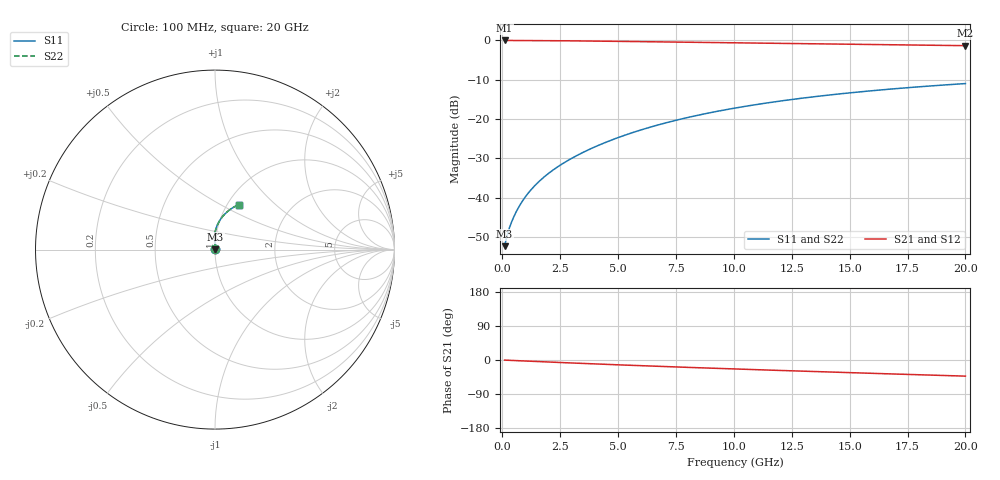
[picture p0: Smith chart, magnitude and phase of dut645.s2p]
! Touchstone file exported from HFSS 2024.1.0
!  File:  C:/UserFiles/LocalFiles/RDL_TSV_Batchsim/temp_RDL_bottom_645_1779785034.aedt
!  Generated:  04:46:24 PM May 26, 2026
!  Design:  RDL_bottom
!  Project:  temp_RDL_bottom_645_1779785034
!  Setup:  Setup1
!  Solution:  Sweep
! Variables:
!  dtsv = 10.80580581um
!  hbump = 3um
!  htsv = 90.67um
!  ldown = 668.22um
!  lrdl = 100um
!  p = 40
!  p1 = 48.89um
!  rhole = 1um
!  t = 450um
!  tdown = 4.49um
!  trdl = 3.915915916um
!  wdown = 28.99um
!  wrdl = 20um
# GHz S MA R 50.000000
! Terminal data exported
! Port[1] = RDL1_T1
! Port[2] = RDL1_T2
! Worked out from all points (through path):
!   200 points, 100 MHz to 20 GHz, reference 50 ohm
!   highest |S21| = -0.02 dB at 100 MHz (marker M1); lowest = -1.3 dB at 20 GHz (marker M2)
!   group delay of S21, straight-line fit = 5.82 ps
!   lowest |S11| = -52.3 dB at 100 MHz (marker M3), VSWR 1.00, Z = 50.2 + j0.127 ohm
!   |S11| at or under -10 dB: start of sweep to end of sweep
!   |S22| runs from -52.3 to -11.0 dB; largest |S21 - S12| = 3e-14
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0.1  0.002428 31.3  0.9979 -0.3  0.9979 -0.3  0.002428 31.3
! Gamma 0 0 0 0
! Port Impedance 50 0 50 0
0.2  0.003259 45.8  0.9977 -0.6  0.9977 -0.6  0.003259 45.8
0.3  0.004086 54.0  0.9974 -0.8  0.9974 -0.8  0.004086 54.0
0.5  0.005758 64.5  0.9971 -1.4  0.9971 -1.4  0.005758 64.5
0.6  0.006628 68.2  0.9969 -1.6  0.9969 -1.6  0.006628 68.2
0.8  0.008435 73.6  0.9965 -2.2  0.9965 -2.2  0.008435 73.6
1  0.01031 77.3  0.996 -2.7  0.996 -2.7  0.01031 77.4
1.2  0.01224 80.2  0.9955 -3.2  0.9955 -3.2  0.01224 80.2
1.7  0.01728 84.8  0.9937 -4.5  0.9937 -4.5  0.01728 84.9
2.2  0.02261 87.8  0.9914 -5.8  0.9914 -5.8  0.02261 87.8
2.8  0.0294 90.1  0.988 -7.4  0.988 -7.4  0.0294 90.1
3.5  0.0379 91.7  0.9834 -9.1  0.9834 -9.1  0.0379 91.7
4.2  0.04702 92.4  0.9782 -10.8  0.9782 -10.8  0.04703 92.5
5  0.05816 92.6  0.9719 -12.7  0.9719 -12.7  0.05817 92.6
5.9  0.07146 92.0  0.9645 -14.8  0.9645 -14.8  0.07147 92.0
6.8  0.08539 90.9  0.9569 -16.8  0.9569 -16.8  0.08541 90.9
8.4  0.1111 88.1  0.9434 -20.3  0.9434 -20.3  0.1111 88.1
10.1  0.1388 84.4  0.9295 -23.8  0.9295 -23.8  0.1389 84.4
11.7  0.1647 80.7  0.9169 -27.0  0.9169 -27.0  0.1647 80.7
13.4  0.1913 76.7  0.9039 -30.3  0.9039 -30.3  0.1914 76.7
16.7  0.2396 69.2  0.8798 -36.6  0.8798 -36.6  0.2397 69.2
20  0.2827 62.1  0.8569 -42.6  0.8569 -42.6  0.2828 62.2
